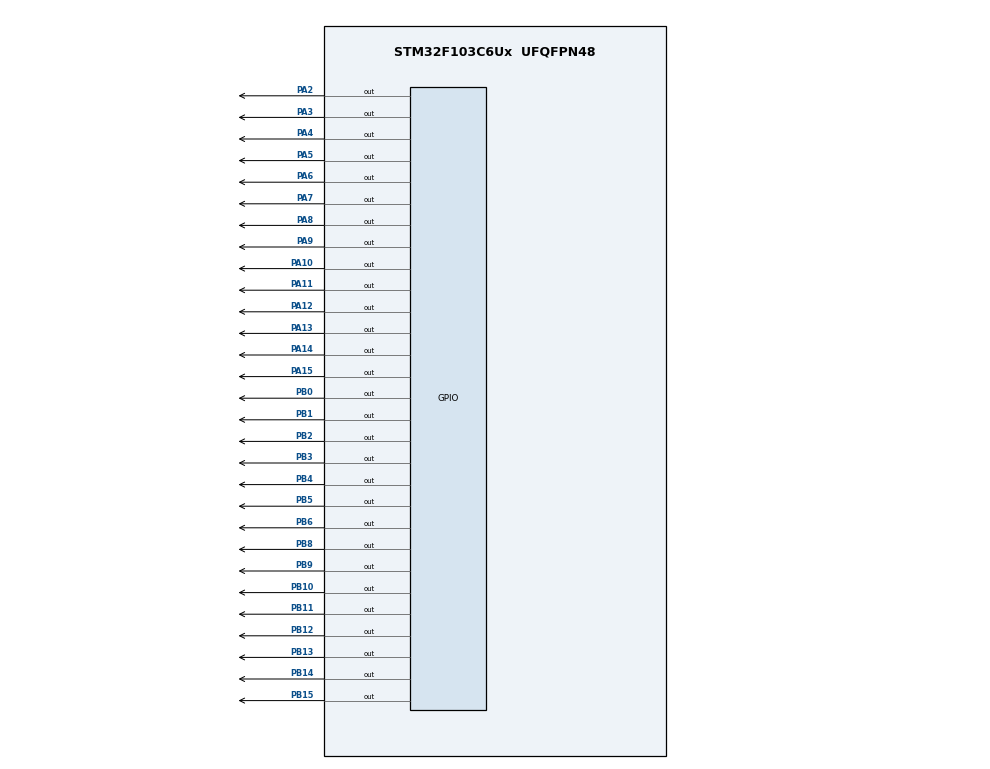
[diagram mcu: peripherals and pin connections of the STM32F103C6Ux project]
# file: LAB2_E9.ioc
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Mcu.Family=STM32F1
Mcu.Name=STM32F103C6Ux
Mcu.Package=UFQFPN48
NVIC.PriorityGroup=NVIC_PRIORITYGROUP_4
NVIC.TIM2_IRQn=true\:0\:0\:false\:false\:true\:true\:true
PA10.Signal=GPIO_Output
PA11.Signal=GPIO_Output
PA12.Signal=GPIO_Output
PA13.Signal=GPIO_Output
PA14.Signal=GPIO_Output
PA15.Signal=GPIO_Output
PA2.Signal=GPIO_Output
PA3.Signal=GPIO_Output
PA4.Signal=GPIO_Output
PA5.Signal=GPIO_Output
PA6.Signal=GPIO_Output
PA7.Signal=GPIO_Output
PA8.Signal=GPIO_Output
PA9.Signal=GPIO_Output
PB0.Signal=GPIO_Output
PB1.Signal=GPIO_Output
PB10.Signal=GPIO_Output
PB11.Signal=GPIO_Output
PB12.Signal=GPIO_Output
PB13.Signal=GPIO_Output
PB14.Signal=GPIO_Output
PB15.Signal=GPIO_Output
PB2.Signal=GPIO_Output
PB3.Signal=GPIO_Output
PB4.Signal=GPIO_Output
PB5.Signal=GPIO_Output
PB6.Signal=GPIO_Output
PB8.Signal=GPIO_Output
PB9.Signal=GPIO_Output
ProjectManager.HeapSize=0x200
ProjectManager.StackSize=0x400
ProjectManager.TargetToolchain=STM32CubeIDE
RCC.APB1Freq_Value=8000000
RCC.APB2Freq_Value=8000000
TIM2.Period=9
TIM2.Prescaler=7999
VP_SYS_VS_ND.Mode=No_Debug
VP_TIM2_VS_ClockSourceINT.Mode=Internal
board=custom

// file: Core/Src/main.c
/* USER CODE BEGIN Header */
/**
  ******************************************************************************
  * @file           : main.c
  * @brief          : Main program body
  ******************************************************************************
  * @attention
  *
  * <h2><center>&copy; Copyright (c) 2025 STMicroelectronics.
  * All rights reserved.</center></h2>
  *
  * This software component is licensed by ST under BSD 3-Clause license,
  * the "License"; You may not use this file except in compliance with the
  * License. You may obtain a copy of the License at:
  *                        opensource.org/licenses/BSD-3-Clause
  *
  ******************************************************************************
  */
/* USER CODE END Header */
#include "main.h"

TIM_HandleTypeDef htim2;

void SystemClock_Config(void);
static void MX_GPIO_Init(void);
static void MX_TIM2_Init(void);

/* USER CODE BEGIN 0 */
int timer0_counter = 0;
int timer0_flag = 0;
int timer1_counter = 0;
int timer1_flag = 0;
int TIMER_CYCLE = 10;

void setTimer0(int duration) {
    timer0_counter = duration / TIMER_CYCLE;
    timer0_flag = 0;
}

void setTimer1(int duration) {
    timer1_counter = duration / TIMER_CYCLE;
    timer1_flag = 0;
}

void timer_run() {
    if (timer0_counter > 0) {
        timer0_counter--;
        if (timer0_counter == 0)
            timer0_flag = 1;
    }

    if (timer1_counter > 0) {
            timer1_counter--;
            if (timer1_counter == 0)
                timer1_flag = 1;
        }
}

uint8_t table[10] = {
    0b1000000, // 0
    0b1111001, // 1
    0b0100100, // 2
    0b0110000, // 3
    0b0011001, // 4
    0b0010010, // 5
    0b0000010, // 6
    0b1111000, // 7
    0b0000000, // 8
    0b0010000 // 9
};

void display7SEG(int num){
	uint8_t n= table[num];
	GPIOB->ODR= (GPIOB->ODR & 0xFFFFFF80)|n;
}

const int MAX_LED = 4;
int index_led = 0;
int led_buffer [4] = {1,2,3,4};
int flag=0;

void update7SEG( int index ){
switch ( index ){
 case 0:
	 HAL_GPIO_WritePin(GPIOA, GPIO_PIN_6, RESET);
	 HAL_GPIO_WritePin(GPIOA, GPIO_PIN_7, SET);
	 HAL_GPIO_WritePin(GPIOA, GPIO_PIN_8, SET);
	 HAL_GPIO_WritePin(GPIOA, GPIO_PIN_9, SET);
	 display7SEG(led_buffer[index]);
 break ;

 case 1:
	 HAL_GPIO_WritePin(GPIOA, GPIO_PIN_6, SET);
	 HAL_GPIO_WritePin(GPIOA, GPIO_PIN_7, RESET);
	 HAL_GPIO_WritePin(GPIOA, GPIO_PIN_8, SET);
	 HAL_GPIO_WritePin(GPIOA, GPIO_PIN_9, SET);
	 display7SEG(led_buffer[index]);
 break ;

 case 2:
	 HAL_GPIO_WritePin(GPIOA, GPIO_PIN_6, SET);
	 HAL_GPIO_WritePin(GPIOA, GPIO_PIN_7, SET);
	 HAL_GPIO_WritePin(GPIOA, GPIO_PIN_8, RESET);
	 HAL_GPIO_WritePin(GPIOA, GPIO_PIN_9, SET);
	 display7SEG(led_buffer[index]);
 break ;

 case 3:
	 HAL_GPIO_WritePin(GPIOA, GPIO_PIN_6, SET);
	 HAL_GPIO_WritePin(GPIOA, GPIO_PIN_7, SET);
	 HAL_GPIO_WritePin(GPIOA, GPIO_PIN_8, SET);
	 HAL_GPIO_WritePin(GPIOA, GPIO_PIN_9, RESET);
	 display7SEG(led_buffer[index]);

 break ;

 default :
 break ;
 }
}

const int MAX_LED_MATRIX = 8;
int index_led_matrix = 0;
uint8_t matrix_buffer[8] = {
		0b00000111, // Cột 2
		0b11011011, // Cột 3
		0b11011011, // Cột 4
		0b00000111, // Cột 5
	//	0b11111111, // Cột 6
	//	0b11111111  // Cột 7
};

void updateLEDMatrix(int index) {
	uint16_t row_pins[8] = {
			GPIO_PIN_2, // Row 0
			GPIO_PIN_3, // Row 1
			GPIO_PIN_10, // Row 2
			GPIO_PIN_11, // Row 3
			GPIO_PIN_12, // Row 4
			GPIO_PIN_13, // Row 5
			GPIO_PIN_14, // Row 6
			GPIO_PIN_15 // Row 7
	};

	HAL_GPIO_WritePin(GPIOA, GPIO_PIN_2, GPIO_PIN_SET);
	HAL_GPIO_WritePin(GPIOA, GPIO_PIN_3, GPIO_PIN_SET);
	HAL_GPIO_WritePin(GPIOA, GPIO_PIN_10, GPIO_PIN_SET);
	HAL_GPIO_WritePin(GPIOA, GPIO_PIN_11, GPIO_PIN_SET);
	HAL_GPIO_WritePin(GPIOA, GPIO_PIN_12, GPIO_PIN_SET);
	HAL_GPIO_WritePin(GPIOA, GPIO_PIN_13, GPIO_PIN_SET);
	HAL_GPIO_WritePin(GPIOA, GPIO_PIN_14, GPIO_PIN_SET);
	HAL_GPIO_WritePin(GPIOA, GPIO_PIN_15, GPIO_PIN_SET);

    switch (index) {
/*
    	 case 0:
        	HAL_GPIO_WritePin(GPIOA, row_pins[2], RESET);
        	GPIOB->ODR = (GPIOB->ODR & ~0xFF00) | (matrix_buffer[index] << 8);
            break;
        case 1:
        	HAL_GPIO_WritePin(GPIOA, row_pins[3], RESET);
        	GPIOB->ODR = (GPIOB->ODR & ~0xFF00) | (matrix_buffer[index] << 8);
            break;
        case 2:
        	HAL_GPIO_WritePin(GPIOA, row_pins[4], RESET);
        	GPIOB->ODR = (GPIOB->ODR & ~0xFF00) | (matrix_buffer[index] << 8);
            break;
        case 3:
        	HAL_GPIO_WritePin(GPIOA, row_pins[5], RESET);
        	GPIOB->ODR = (GPIOB->ODR & ~0xFF00) | (matrix_buffer[index] << 8);
            break;

    */
        case 0:
        	HAL_GPIO_WritePin(GPIOA, row_pins[0], RESET);
        	GPIOB->ODR = (GPIOB->ODR & ~0xFF00) | (matrix_buffer[index] << 8);
            break;
        case 1:
        	HAL_GPIO_WritePin(GPIOA, row_pins[1], RESET);
        	GPIOB->ODR = (GPIOB->ODR & ~0xFF00) | (matrix_buffer[index] << 8);
            break;
        case 2:
        	HAL_GPIO_WritePin(GPIOA, row_pins[2], RESET);
        	GPIOB->ODR = (GPIOB->ODR & ~0xFF00) | (matrix_buffer[index] << 8);
            break;
        case 3:
        	HAL_GPIO_WritePin(GPIOA, row_pins[3], RESET);
        	GPIOB->ODR = (GPIOB->ODR & ~0xFF00) | (matrix_buffer[index] << 8);
            break;
        case 4:
        	HAL_GPIO_WritePin(GPIOA, row_pins[1], RESET);
        	GPIOB->ODR = (GPIOB->ODR & ~0xFF00) | (matrix_buffer[0] << 8);
            break;
        case 5:
        	HAL_GPIO_WritePin(GPIOA, row_pins[2], RESET);
        	GPIOB->ODR = (GPIOB->ODR & ~0xFF00) | (matrix_buffer[1] << 8);
            break;
        case 6:
        	HAL_GPIO_WritePin(GPIOA, row_pins[3], RESET);
        	GPIOB->ODR = (GPIOB->ODR & ~0xFF00) | (matrix_buffer[2] << 8);
            break;
        case 7:
        	HAL_GPIO_WritePin(GPIOA, row_pins[4], RESET);
        	GPIOB->ODR = (GPIOB->ODR & ~0xFF00) | (matrix_buffer[3] << 8);
            break;
        case 8:
        	HAL_GPIO_WritePin(GPIOA, row_pins[2], RESET);
        	GPIOB->ODR = (GPIOB->ODR & ~0xFF00) | (matrix_buffer[0] << 8);
            break;
        case 9:
        	HAL_GPIO_WritePin(GPIOA, row_pins[3], RESET);
        	GPIOB->ODR = (GPIOB->ODR & ~0xFF00) | (matrix_buffer[1] << 8);
            break;
        case 10:
        	HAL_GPIO_WritePin(GPIOA, row_pins[4], RESET);
        	GPIOB->ODR = (GPIOB->ODR & ~0xFF00) | (matrix_buffer[2] << 8);
            break;
        case 11:
        	HAL_GPIO_WritePin(GPIOA, row_pins[5], RESET);
        	GPIOB->ODR = (GPIOB->ODR & ~0xFF00) | (matrix_buffer[3] << 8);
            break;
        case 12:
        	HAL_GPIO_WritePin(GPIOA, row_pins[3], RESET);
        	GPIOB->ODR = (GPIOB->ODR & ~0xFF00) | (matrix_buffer[0] << 8);
            break;
        case 13:
        	HAL_GPIO_WritePin(GPIOA, row_pins[4], RESET);
        	GPIOB->ODR = (GPIOB->ODR & ~0xFF00) | (matrix_buffer[1] << 8);
            break;
        case 14:
        	HAL_GPIO_WritePin(GPIOA, row_pins[5], RESET);
        	GPIOB->ODR = (GPIOB->ODR & ~0xFF00) | (matrix_buffer[2] << 8);
            break;
        case 15:
        	HAL_GPIO_WritePin(GPIOA, row_pins[6], RESET);
        	GPIOB->ODR = (GPIOB->ODR & ~0xFF00) | (matrix_buffer[3] << 8);
            break;
        case 16:
        	HAL_GPIO_WritePin(GPIOA, row_pins[4], RESET);
        	GPIOB->ODR = (GPIOB->ODR & ~0xFF00) | (matrix_buffer[0] << 8);
            break;
        case 17:
        	HAL_GPIO_WritePin(GPIOA, row_pins[5], RESET);
        	GPIOB->ODR = (GPIOB->ODR & ~0xFF00) | (matrix_buffer[1] << 8);
            break;
        case 18:
        	HAL_GPIO_WritePin(GPIOA, row_pins[6], RESET);
        	GPIOB->ODR = (GPIOB->ODR & ~0xFF00) | (matrix_buffer[2] << 8);
            break;
        case 19:
        	HAL_GPIO_WritePin(GPIOA, row_pins[7], RESET);
        	GPIOB->ODR = (GPIOB->ODR & ~0xFF00) | (matrix_buffer[3] << 8);
            break;

        default:
            break;
    }
}

int hour = 15, minute = 8, second = 50;

  void updateClockBuffer(){
  int led1=0, led2=0, led3=0, led4=0;
  led1=hour/10;
  led2=hour%10;
  led3=minute/10;
  led4=minute%10;

  led_buffer[0]= led1;
  led_buffer[1]= led2;
  led_buffer[2]= led3;
  led_buffer[3]= led4;
 }

/* USER CODE END 0 */

int main(void)
{

  /* MCU Configuration--------------------------------------------------------*/

  /* Reset of all peripherals, Initializes the Flash interface and the Systick. */
  HAL_Init();

  /* Configure the system clock */
  SystemClock_Config();

  /* Initialize all configured peripherals */
  MX_GPIO_Init();
  MX_TIM2_Init();
  /* USER CODE BEGIN 2 */
  HAL_TIM_Base_Start_IT(&htim2);
  /* USER CODE END 2 */

  /* Infinite loop */
  /* USER CODE BEGIN WHILE */
  setTimer0(50);
  setTimer1(10);
  while (1)
  {
		if(timer0_flag){
			second++;

			HAL_GPIO_TogglePin(GPIOA, GPIO_PIN_4);
			HAL_GPIO_TogglePin(GPIOA, GPIO_PIN_5);
			if(index_led<3){
			    	index_led++;
			 }
			 else index_led=0;

			setTimer0(50);
		}

		if(timer1_flag){
			if(index_led_matrix<19){
				index_led_matrix++;
			} else {
				index_led_matrix=0;
			}
			updateLEDMatrix(index_led_matrix);
			setTimer1(10);
		}

	    if (second >= 60) {
			second = 0;
			minute++;
	    }
		if (minute >= 60) {
			minute = 0;
			hour++;
	    }
	    if (hour >= 24) {
			hour = 0;
	    }
	    updateClockBuffer();
	    update7SEG(index_led);

    /* USER CODE END WHILE */

  }
}

void SystemClock_Config(void)
{
  RCC_OscInitTypeDef RCC_OscInitStruct = {0};
  RCC_ClkInitTypeDef RCC_ClkInitStruct = {0};

  /** Initializes the RCC Oscillators according to the specified parameters
  * in the RCC_OscInitTypeDef structure.
  */
  RCC_OscInitStruct.OscillatorType = RCC_OSCILLATORTYPE_HSI;
  RCC_OscInitStruct.HSIState = RCC_HSI_ON;
  RCC_OscInitStruct.HSICalibrationValue = RCC_HSICALIBRATION_DEFAULT;
  RCC_OscInitStruct.PLL.PLLState = RCC_PLL_NONE;
  if (HAL_RCC_OscConfig(&RCC_OscInitStruct) != HAL_OK)
  {
    Error_Handler();
  }
  /** Initializes the CPU, AHB and APB buses clocks
  */
  RCC_ClkInitStruct.ClockType = RCC_CLOCKTYPE_HCLK|RCC_CLOCKTYPE_SYSCLK
                              |RCC_CLOCKTYPE_PCLK1|RCC_CLOCKTYPE_PCLK2;
  RCC_ClkInitStruct.SYSCLKSource = RCC_SYSCLKSOURCE_HSI;
  RCC_ClkInitStruct.AHBCLKDivider = RCC_SYSCLK_DIV1;
  RCC_ClkInitStruct.APB1CLKDivider = RCC_HCLK_DIV1;
  RCC_ClkInitStruct.APB2CLKDivider = RCC_HCLK_DIV1;

  if (HAL_RCC_ClockConfig(&RCC_ClkInitStruct, FLASH_LATENCY_0) != HAL_OK)
  {
    Error_Handler();
  }
}

static void MX_TIM2_Init(void)
{

  TIM_ClockConfigTypeDef sClockSourceConfig = {0};
  TIM_MasterConfigTypeDef sMasterConfig = {0};

  htim2.Instance = TIM2;
  htim2.Init.Prescaler = 7999;
  htim2.Init.CounterMode = TIM_COUNTERMODE_UP;
  htim2.Init.Period = 9;
  htim2.Init.ClockDivision = TIM_CLOCKDIVISION_DIV1;
  htim2.Init.AutoReloadPreload = TIM_AUTORELOAD_PRELOAD_DISABLE;
  if (HAL_TIM_Base_Init(&htim2) != HAL_OK)
  {
    Error_Handler();
  }
  sClockSourceConfig.ClockSource = TIM_CLOCKSOURCE_INTERNAL;
  if (HAL_TIM_ConfigClockSource(&htim2, &sClockSourceConfig) != HAL_OK)
  {
    Error_Handler();
  }
  sMasterConfig.MasterOutputTrigger = TIM_TRGO_RESET;
  sMasterConfig.MasterSlaveMode = TIM_MASTERSLAVEMODE_DISABLE;
  if (HAL_TIMEx_MasterConfigSynchronization(&htim2, &sMasterConfig) != HAL_OK)
  {
    Error_Handler();
  }

}

static void MX_GPIO_Init(void)
{
  GPIO_InitTypeDef GPIO_InitStruct = {0};

  /* GPIO Ports Clock Enable */
  __HAL_RCC_GPIOA_CLK_ENABLE();
  __HAL_RCC_GPIOB_CLK_ENABLE();

  /*Configure GPIO pin Output Level */
  HAL_GPIO_WritePin(GPIOA, GPIO_PIN_2|GPIO_PIN_3|GPIO_PIN_4|GPIO_PIN_5
                          |GPIO_PIN_6|GPIO_PIN_7|GPIO_PIN_8|GPIO_PIN_9
                          |GPIO_PIN_10|GPIO_PIN_11|GPIO_PIN_12|GPIO_PIN_13
                          |GPIO_PIN_14|GPIO_PIN_15, GPIO_PIN_RESET);

  /*Configure GPIO pin Output Level */
  HAL_GPIO_WritePin(GPIOB, GPIO_PIN_0|GPIO_PIN_1|GPIO_PIN_2|GPIO_PIN_10
                          |GPIO_PIN_11|GPIO_PIN_12|GPIO_PIN_13|GPIO_PIN_14
                          |GPIO_PIN_15|GPIO_PIN_3|GPIO_PIN_4|GPIO_PIN_5
                          |GPIO_PIN_6|GPIO_PIN_8|GPIO_PIN_9, GPIO_PIN_RESET);

  /*Configure GPIO pins : PA2 PA3 PA4 PA5
                           PA6 PA7 PA8 PA9
                           PA10 PA11 PA12 PA13
                           PA14 PA15 */
  GPIO_InitStruct.Pin = GPIO_PIN_2|GPIO_PIN_3|GPIO_PIN_4|GPIO_PIN_5
                          |GPIO_PIN_6|GPIO_PIN_7|GPIO_PIN_8|GPIO_PIN_9
                          |GPIO_PIN_10|GPIO_PIN_11|GPIO_PIN_12|GPIO_PIN_13
                          |GPIO_PIN_14|GPIO_PIN_15;
  GPIO_InitStruct.Mode = GPIO_MODE_OUTPUT_PP;
  GPIO_InitStruct.Pull = GPIO_NOPULL;
  GPIO_InitStruct.Speed = GPIO_SPEED_FREQ_LOW;
  HAL_GPIO_Init(GPIOA, &GPIO_InitStruct);

  /*Configure GPIO pins : PB0 PB1 PB2 PB10
                           PB11 PB12 PB13 PB14
                           PB15 PB3 PB4 PB5
                           PB6 PB8 PB9 */
  GPIO_InitStruct.Pin = GPIO_PIN_0|GPIO_PIN_1|GPIO_PIN_2|GPIO_PIN_10
                          |GPIO_PIN_11|GPIO_PIN_12|GPIO_PIN_13|GPIO_PIN_14
                          |GPIO_PIN_15|GPIO_PIN_3|GPIO_PIN_4|GPIO_PIN_5
                          |GPIO_PIN_6|GPIO_PIN_8|GPIO_PIN_9;
  GPIO_InitStruct.Mode = GPIO_MODE_OUTPUT_PP;
  GPIO_InitStruct.Pull = GPIO_NOPULL;
  GPIO_InitStruct.Speed = GPIO_SPEED_FREQ_LOW;
  HAL_GPIO_Init(GPIOB, &GPIO_InitStruct);

}

/* USER CODE BEGIN 4 */
void HAL_TIM_PeriodElapsedCallback(TIM_HandleTypeDef *htim){
	timer_run();
}
/* USER CODE END 4 */

void Error_Handler(void)
{
  __disable_irq();
  while (1)
  {
  }
}

/************************ (C) COPYRIGHT STMicroelectronics *****END OF FILE****/
